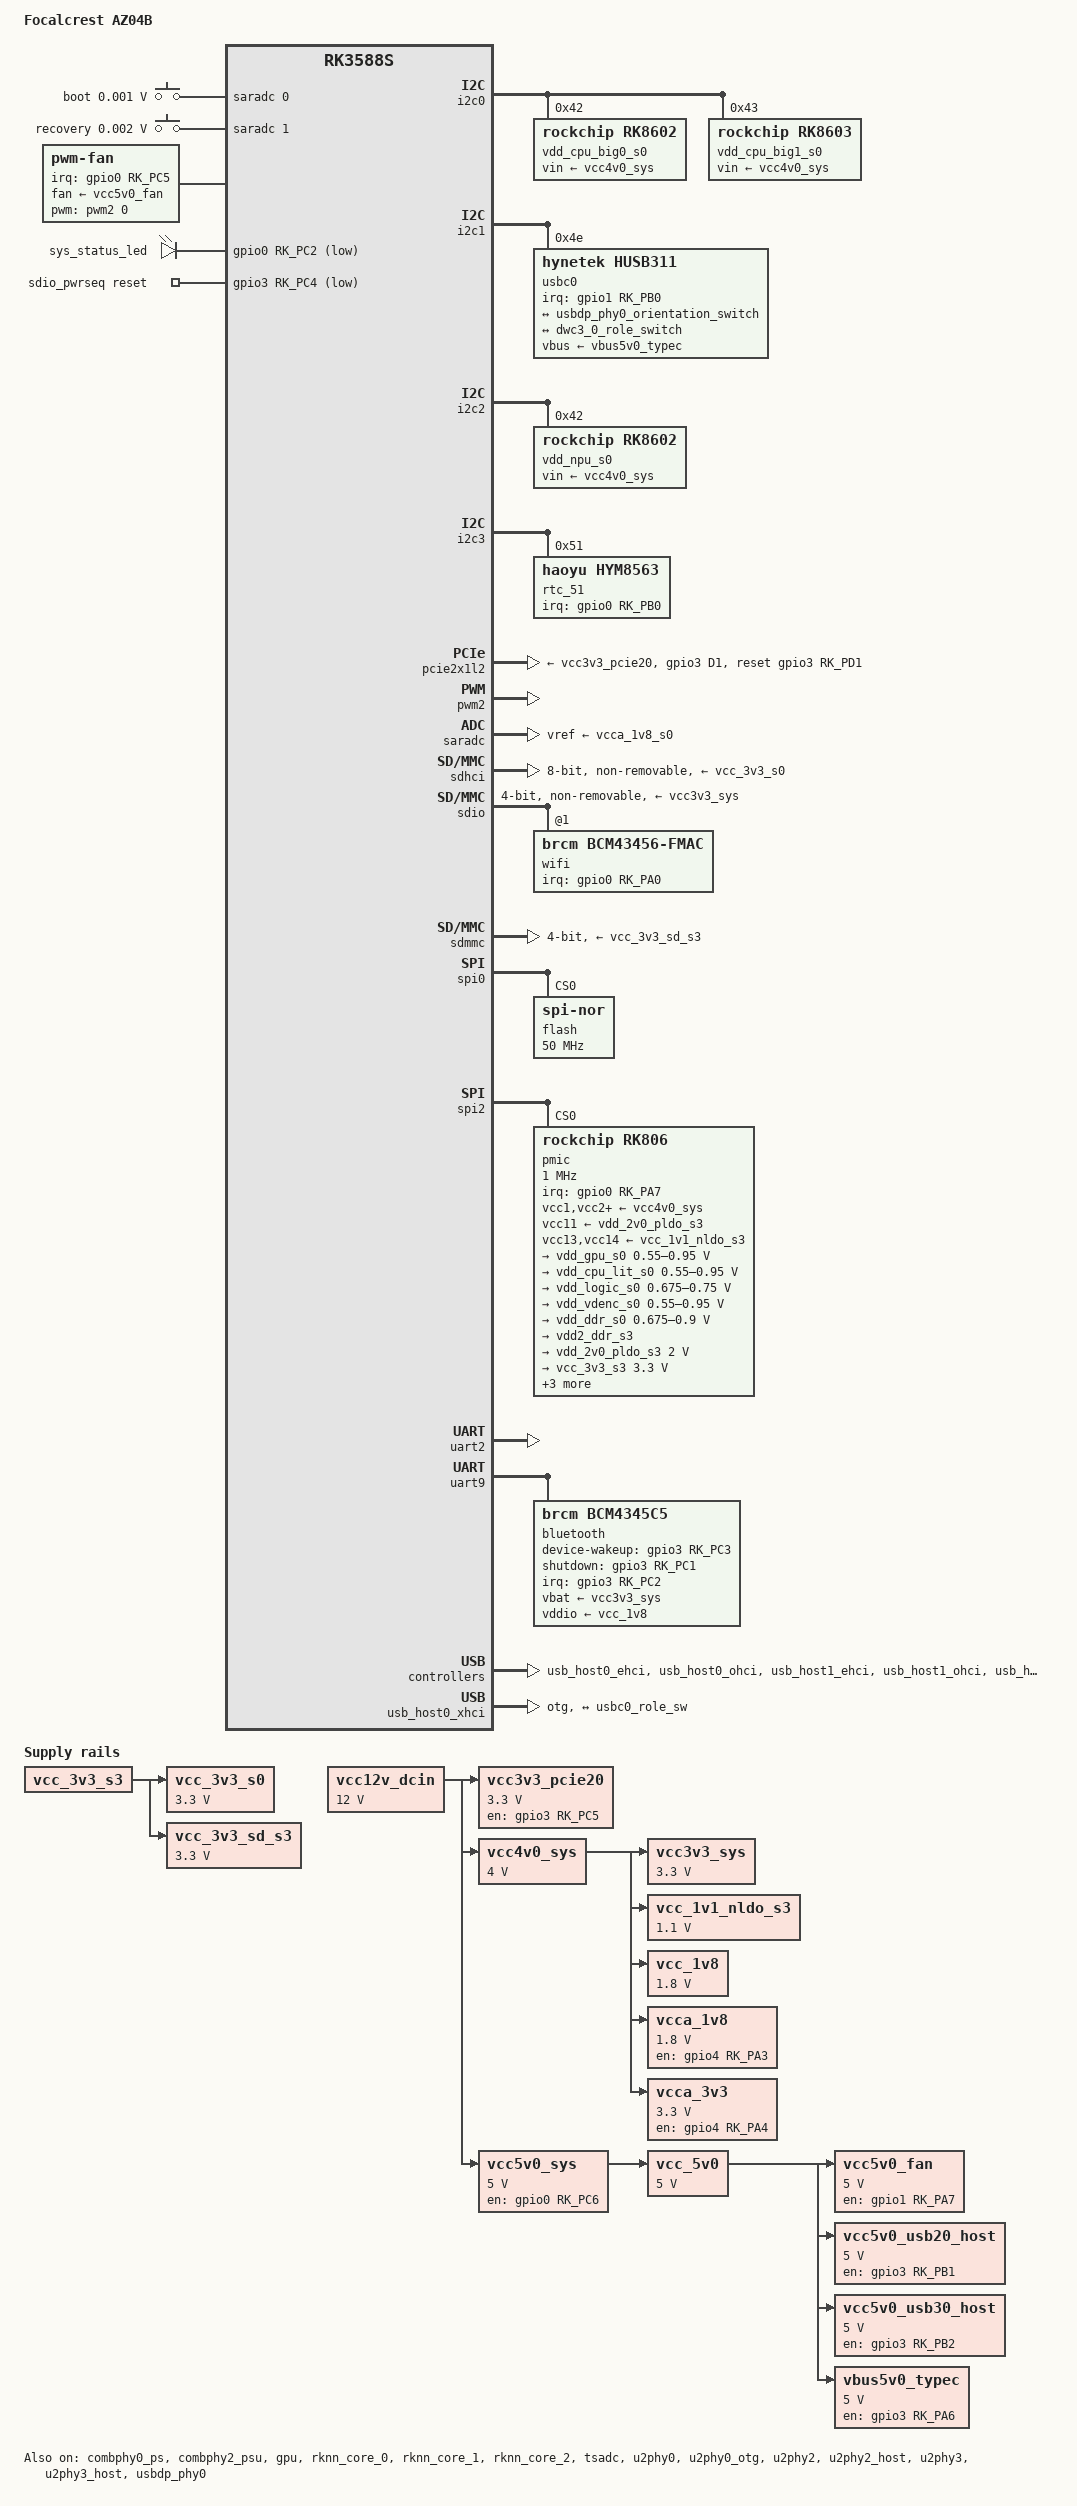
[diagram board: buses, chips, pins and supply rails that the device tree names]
// SPDX-License-Identifier: (GPL-2.0+ OR MIT)
/*
 * Copyright (c) 2026 Focalcrest Co., Ltd.
 *
 *
 */

/dts-v1/;

#include <dt-bindings/gpio/gpio.h>
#include <dt-bindings/input/input.h>
#include <dt-bindings/interrupt-controller/irq.h>
#include <dt-bindings/pinctrl/rockchip.h>
#include <dt-bindings/thermal/thermal.h>
#include <dt-bindings/usb/pd.h>
#include "rk3588s.dtsi"

/ {
	model = "Focalcrest AZ04B";
	compatible = "focalcrest,rk3588s-az04b", "rockchip,rk3588s";

	aliases {
		mmc0 = &sdhci;
		mmc1 = &sdmmc;
		mmc2 = &sdio;
	};

	adc-keys-0 {
		compatible = "adc-keys";
		io-channel-names = "buttons";
		io-channels = <&saradc 0>;
		keyup-threshold-microvolt = <1800000>;
		poll-interval = <100>;

		button-boot {
			label = "boot";
			linux,code = <KEY_1>;
			press-threshold-microvolt = <1000>;
		};
	};

	adc-keys-1 {
		compatible = "adc-keys";
		io-channel-names = "buttons";
		io-channels = <&saradc 1>;
		keyup-threshold-microvolt = <1800000>;
		poll-interval = <100>;

		button-recovery {
			label = "recovery";
			linux,code = <KEY_2>;
			press-threshold-microvolt = <2000>;
		};
	};

	chosen {
		stdout-path = "serial2:1500000n8";
	};

	fan: pwm-fan {
		compatible = "pwm-fan";
		#cooling-cells = <2>;
		cooling-levels = <0 100 150 200 255>;
		fan-supply = <&vcc5v0_fan>;
		interrupt-parent = <&gpio0>;
		interrupts = <RK_PC5 IRQ_TYPE_EDGE_FALLING>;
		pulses-per-revolution = <2>;
		pwms = <&pwm2 0 5000 0>;
	};

	firmware {
		optee {
			compatible = "linaro,optee-tz";
			method = "smc";
		};
	};

	leds {
		compatible = "gpio-leds";
		pinctrl-names = "default";
		pinctrl-0 = <&sys_status_led_pin>;

		led-0 {
			label = "sys_status_led";
			gpios = <&gpio0 RK_PC2 GPIO_ACTIVE_LOW>;
			linux,default-trigger = "heartbeat";
		};
	};

	reserved-memory {
		#address-cells = <2>;
		#size-cells = <2>;
		ranges;

		optee@8400000 {
			reg = <0x0 0x8400000 0x0 0x1000000>;
			no-map;
		};
	};

	sdio_pwrseq: sdio-pwrseq {
		compatible = "mmc-pwrseq-simple";
		clocks = <&rtc_51>;
		clock-names = "ext_clock";
		pinctrl-names = "default";
		pinctrl-0 = <&wifi_enable_h>;
		post-power-on-delay-ms = <200>;
		reset-gpios = <&gpio3 RK_PC4 GPIO_ACTIVE_LOW>;
	};

	vcc12v_dcin: regulator-vcc12v-dcin {
		compatible = "regulator-fixed";
		regulator-name = "vcc12v_dcin";
		regulator-always-on;
		regulator-boot-on;
		regulator-min-microvolt = <12000000>;
		regulator-max-microvolt = <12000000>;
	};

	vcc3v3_pcie20: regulator-vcc3v3-pcie20 {
		compatible = "regulator-fixed";
		enable-active-high;
		gpio = <&gpio3 RK_PC5 GPIO_ACTIVE_HIGH>;
		regulator-name = "vcc3v3_pcie20";
		regulator-always-on;
		regulator-min-microvolt = <3300000>;
		regulator-max-microvolt = <3300000>;
		startup-delay-us = <5000>;
		vin-supply = <&vcc12v_dcin>;
	};

	vcc3v3_sys: regulator-vcc3v3-sys {
		compatible = "regulator-fixed";
		regulator-name = "vcc3v3_sys";
		regulator-always-on;
		regulator-boot-on;
		regulator-min-microvolt = <3300000>;
		regulator-max-microvolt = <3300000>;
		vin-supply = <&vcc4v0_sys>;
	};

	vcc4v0_sys: regulator-vcc4v0-sys {
		compatible = "regulator-fixed";
		regulator-name = "vcc4v0_sys";
		regulator-always-on;
		regulator-boot-on;
		regulator-min-microvolt = <4000000>;
		regulator-max-microvolt = <4000000>;
		vin-supply = <&vcc12v_dcin>;
	};

	vcc5v0_fan: regulator-vcc5v0-fan {
		compatible = "regulator-fixed";
		enable-active-high;
		gpio = <&gpio1 RK_PA7 GPIO_ACTIVE_HIGH>;
		pinctrl-names = "default";
		pinctrl-0 = <&fan_vbus_en>;
		regulator-name = "vcc5v0_fan";
		regulator-min-microvolt = <5000000>;
		regulator-max-microvolt = <5000000>;
		vin-supply = <&vcc_5v0>;
	};

	vcc5v0_sys: regulator-vcc5v0-sys {
		compatible = "regulator-fixed";
		enable-active-high;
		gpio = <&gpio0 RK_PC6 GPIO_ACTIVE_HIGH>;
		regulator-name = "vcc5v0_sys";
		regulator-always-on;
		regulator-boot-on;
		regulator-min-microvolt = <5000000>;
		regulator-max-microvolt = <5000000>;
		vin-supply = <&vcc12v_dcin>;
	};

	vcc5v0_usb20_host: regulator-vcc5v0-usb20-host {
		compatible = "regulator-fixed";
		enable-active-high;
		gpio = <&gpio3 RK_PB1 GPIO_ACTIVE_HIGH>;
		pinctrl-names = "default";
		pinctrl-0 = <&usb20_host_pwr_en>;
		regulator-name = "vcc5v0_usb20_host";
		regulator-min-microvolt = <5000000>;
		regulator-max-microvolt = <5000000>;
		vin-supply = <&vcc_5v0>;
	};

	vcc5v0_usb30_host: regulator-vcc5v0-usb30-host {
		compatible = "regulator-fixed";
		enable-active-high;
		gpio = <&gpio3 RK_PB2 GPIO_ACTIVE_HIGH>;
		pinctrl-names = "default";
		pinctrl-0 = <&usb30_host_pwr_en>;
		regulator-name = "vcc5v0_usb30_host";
		regulator-min-microvolt = <5000000>;
		regulator-max-microvolt = <5000000>;
		vin-supply = <&vcc_5v0>;
	};

	vcc_1v1_nldo_s3: regulator-vcc-1v1-nldo-s3 {
		compatible = "regulator-fixed";
		regulator-name = "vcc_1v1_nldo_s3";
		regulator-always-on;
		regulator-boot-on;
		regulator-min-microvolt = <1100000>;
		regulator-max-microvolt = <1100000>;
		vin-supply = <&vcc4v0_sys>;
	};

	vcc_1v8: regulator-vcc-1v8 {
		compatible = "regulator-fixed";
		regulator-name = "vcc_1v8";
		regulator-always-on;
		regulator-boot-on;
		regulator-min-microvolt = <1800000>;
		regulator-max-microvolt = <1800000>;
		vin-supply = <&vcc4v0_sys>;
	};

	vcc_3v3_s0: regulator-vcc-3v3-s0 {
		compatible = "regulator-fixed";
		regulator-name = "vcc_3v3_s0";
		regulator-always-on;
		regulator-boot-on;
		regulator-min-microvolt = <3300000>;
		regulator-max-microvolt = <3300000>;
		vin-supply = <&vcc_3v3_s3>;
	};

	vcc_3v3_sd_s3: regulator-vcc-3v3-sd-s3 {
		compatible = "regulator-fixed";
		regulator-name = "vcc_3v3_sd_s3";
		regulator-always-on;
		regulator-boot-on;
		regulator-min-microvolt = <3300000>;
		regulator-max-microvolt = <3300000>;
		vin-supply = <&vcc_3v3_s3>;
	};

	vcc_5v0: regulator-vcc-5v0 {
		compatible = "regulator-fixed";
		regulator-name = "vcc_5v0";
		regulator-always-on;
		regulator-boot-on;
		regulator-min-microvolt = <5000000>;
		regulator-max-microvolt = <5000000>;
		vin-supply = <&vcc5v0_sys>;
	};

	vcca_1v8: regulator-vcca-1v8 {
		compatible = "regulator-fixed";
		enable-active-high;
		gpio = <&gpio4 RK_PA3 GPIO_ACTIVE_HIGH>;
		regulator-name = "vcca_1v8";
		regulator-always-on;
		regulator-boot-on;
		regulator-min-microvolt = <1800000>;
		regulator-max-microvolt = <1800000>;
		vin-supply = <&vcc4v0_sys>;
	};

	vcca_3v3: regulator-vcca-3v3 {
		compatible = "regulator-fixed";
		enable-active-high;
		gpio = <&gpio4 RK_PA4 GPIO_ACTIVE_HIGH>;
		regulator-name = "vcca_3v3";
		regulator-always-on;
		regulator-boot-on;
		regulator-min-microvolt = <3300000>;
		regulator-max-microvolt = <3300000>;
		vin-supply = <&vcc4v0_sys>;
	};

	vbus5v0_typec: regulator-vbus5v0-typec {
		compatible = "regulator-fixed";
		enable-active-high;
		gpio = <&gpio3 RK_PA6 GPIO_ACTIVE_HIGH>;
		pinctrl-names = "default";
		pinctrl-0 = <&typec_vbus_en>;
		regulator-name = "vbus5v0_typec";
		regulator-min-microvolt = <5000000>;
		regulator-max-microvolt = <5000000>;
		vin-supply = <&vcc_5v0>;
	};
};

&combphy0_ps {
	status = "okay";
};

&combphy2_psu {
	status = "okay";
};

&cpu_b0 {
	cpu-supply = <&vdd_cpu_big0_s0>;
	mem-supply = <&vdd_cpu_big0_s0>;
};

&cpu_b1 {
	cpu-supply = <&vdd_cpu_big0_s0>;
	mem-supply = <&vdd_cpu_big0_s0>;
};

&cpu_b2 {
	cpu-supply = <&vdd_cpu_big1_s0>;
	mem-supply = <&vdd_cpu_big1_s0>;
};

&cpu_b3 {
	cpu-supply = <&vdd_cpu_big1_s0>;
	mem-supply = <&vdd_cpu_big1_s0>;
};

&cpu_l0 {
	cpu-supply = <&vdd_cpu_lit_s0>;
	mem-supply = <&vdd_cpu_lit_s0>;
};

&cpu_l1 {
	cpu-supply = <&vdd_cpu_lit_s0>;
	mem-supply = <&vdd_cpu_lit_s0>;
};

&cpu_l2 {
	cpu-supply = <&vdd_cpu_lit_s0>;
	mem-supply = <&vdd_cpu_lit_s0>;
};

&cpu_l3 {
	cpu-supply = <&vdd_cpu_lit_s0>;
	mem-supply = <&vdd_cpu_lit_s0>;
};

&gpu {
	mali-supply = <&vdd_gpu_s0>;
	status = "okay";
};

&i2c0 {
	pinctrl-0 = <&i2c0m2_xfer>;
	status = "okay";

	vdd_cpu_big0_s0: regulator@42 {
		compatible = "rockchip,rk8602";
		reg = <0x42>;
		regulator-name = "vdd_cpu_big0_s0";
		regulator-always-on;
		regulator-boot-on;
		regulator-min-microvolt = <550000>;
		regulator-max-microvolt = <1050000>;
		regulator-ramp-delay = <2300>;
		vin-supply = <&vcc4v0_sys>;
		fcs,suspend-voltage-selector = <1>;

		regulator-state-mem {
			regulator-off-in-suspend;
		};
	};

	vdd_cpu_big1_s0: regulator@43 {
		compatible = "rockchip,rk8603", "rockchip,rk8602";
		reg = <0x43>;
		regulator-name = "vdd_cpu_big1_s0";
		regulator-always-on;
		regulator-boot-on;
		regulator-min-microvolt = <550000>;
		regulator-max-microvolt = <1050000>;
		regulator-ramp-delay = <2300>;
		vin-supply = <&vcc4v0_sys>;
		fcs,suspend-voltage-selector = <1>;

		regulator-state-mem {
			regulator-off-in-suspend;
		};
	};
};

&i2c1 {
	pinctrl-0 = <&i2c1m2_xfer>;
	status = "okay";

	usbc0: usb-typec@4e {
		/*
		 * The HUSB311 is TCPCI compliant but has no binding of its own
		 * in mainline yet, so it binds through the generic "tcpci"
		 * fallback.  dtbs_check will flag the first entry until a
		 * binding is added.
		 */
		compatible = "hynetek,husb311", "tcpci";
		reg = <0x4e>;
		interrupt-parent = <&gpio1>;
		interrupts = <RK_PB0 IRQ_TYPE_LEVEL_LOW>;
		pinctrl-names = "default";
		pinctrl-0 = <&usbc0_int>;
		vbus-supply = <&vbus5v0_typec>;

		usb_con: connector {
			compatible = "usb-c-connector";
			data-role = "dual";
			label = "USB-C";
			op-sink-microwatt = <1000000>;
			power-role = "dual";
			sink-pdos = <PDO_FIXED(5000, 1000, PDO_FIXED_USB_COMM)>;
			source-pdos = <PDO_FIXED(5000, 3000, PDO_FIXED_USB_COMM)>;
			try-power-role = "sink";

			ports {
				#address-cells = <1>;
				#size-cells = <0>;

				port@0 {
					reg = <0>;

					usbc0_orien_sw: endpoint {
						remote-endpoint = <&usbdp_phy0_orientation_switch>;
					};
				};

				port@1 {
					reg = <1>;

					usbc0_role_sw: endpoint {
						remote-endpoint = <&dwc3_0_role_switch>;
					};
				};

				/*
				 * port@2 (SBU / DP alt-mode) is intentionally
				 * absent: no display output is described.  Add
				 * it together with &usbdp_phy0 mode-switch and
				 * the sbu[12]-dc-gpios when DP is wanted.
				 */
			};
		};
	};
};

&i2c2 {
	pinctrl-0 = <&i2c2m0_xfer>;
	status = "okay";

	vdd_npu_s0: regulator@42 {
		compatible = "rockchip,rk8602";
		reg = <0x42>;
		regulator-name = "vdd_npu_s0";
		regulator-boot-on;
		regulator-min-microvolt = <550000>;
		regulator-max-microvolt = <950000>;
		regulator-ramp-delay = <2300>;
		vin-supply = <&vcc4v0_sys>;
		fcs,suspend-voltage-selector = <1>;

		regulator-state-mem {
			regulator-off-in-suspend;
		};
	};
};

&i2c3 {
	pinctrl-0 = <&i2c3m0_xfer>;
	status = "okay";

	rtc_51: rtc@51 {
		compatible = "haoyu,hym8563";
		reg = <0x51>;
		#clock-cells = <0>;
		clock-output-names = "hym8563";
		interrupt-parent = <&gpio0>;
		interrupts = <RK_PB0 IRQ_TYPE_LEVEL_LOW>;
		pinctrl-names = "default";
		pinctrl-0 = <&hym8563_int>;
		wakeup-source;
	};
};

&package_thermal {
	polling-delay = <500>;
	polling-delay-passive = <100>;

	trips {
		fan_trip0: fan-trip0 {
			hysteresis = <2000>;
			temperature = <40000>;
			type = "active";
		};

		fan_trip1: fan-trip1 {
			hysteresis = <2000>;
			temperature = <50000>;
			type = "active";
		};

		fan_trip2: fan-trip2 {
			hysteresis = <2000>;
			temperature = <60000>;
			type = "active";
		};

		fan_trip3: fan-trip3 {
			hysteresis = <2000>;
			temperature = <65000>;
			type = "active";
		};
	};

	cooling-maps {
		map-fan-0 {
			cooling-device = <&fan 1 1>;
			trip = <&fan_trip0>;
		};

		map-fan-1 {
			cooling-device = <&fan 2 2>;
			trip = <&fan_trip1>;
		};

		map-fan-2 {
			cooling-device = <&fan 3 3>;
			trip = <&fan_trip2>;
		};

		map-fan-3 {
			cooling-device = <&fan 4 THERMAL_NO_LIMIT>;
			trip = <&fan_trip3>;
		};
	};
};

&pcie2x1l2 {
	pinctrl-names = "default";
	pinctrl-0 = <&pcie20_perstn>;
	reset-gpios = <&gpio3 RK_PD1 GPIO_ACTIVE_HIGH>;
	vpcie3v3-supply = <&vcc3v3_pcie20>;
	status = "okay";
};

&pd_gpu {
	domain-supply = <&vdd_gpu_s0>;
};

&pd_npu {
	domain-supply = <&vdd_npu_s0>;
};

&pinctrl {
	fan {
		fan_vbus_en: fan-vbus-en {
			rockchip,pins = <1 RK_PA7 RK_FUNC_GPIO &pcfg_pull_none>;
		};
	};

	hym8563 {
		hym8563_int: hym8563-int {
			rockchip,pins = <0 RK_PB0 RK_FUNC_GPIO &pcfg_pull_up>;
		};
	};

	leds {
		sys_status_led_pin: sys-status-led-pin {
			rockchip,pins = <0 RK_PC2 RK_FUNC_GPIO &pcfg_pull_none>;
		};
	};

	pcie {
		pcie20_perstn: pcie20-perstn {
			rockchip,pins = <3 RK_PD1 RK_FUNC_GPIO &pcfg_pull_none>;
		};
	};

	usb {
		usb20_host_pwr_en: usb20-host-pwr-en {
			rockchip,pins = <3 RK_PB1 RK_FUNC_GPIO &pcfg_pull_none>;
		};

		usb30_host_pwr_en: usb30-host-pwr-en {
			rockchip,pins = <3 RK_PB2 RK_FUNC_GPIO &pcfg_pull_none>;
		};
	};

	usb-typec {
		typec_vbus_en: typec-vbus-en {
			rockchip,pins = <3 RK_PA6 RK_FUNC_GPIO &pcfg_pull_none>;
		};

		usbc0_int: usbc0-int {
			rockchip,pins = <1 RK_PB0 RK_FUNC_GPIO &pcfg_pull_up>;
		};
	};

	wireless-bluetooth {
		bt_irq_gpio: bt-irq-gpio {
			rockchip,pins = <3 RK_PC2 RK_FUNC_GPIO &pcfg_pull_down>;
		};

		bt_reset_gpio: bt-reset-gpio {
			rockchip,pins = <3 RK_PC1 RK_FUNC_GPIO &pcfg_pull_none>;
		};

		bt_wake_gpio: bt-wake-gpio {
			rockchip,pins = <3 RK_PC3 RK_FUNC_GPIO &pcfg_pull_none>;
		};
	};

	wireless-wlan {
		wifi_enable_h: wifi-enable-h {
			rockchip,pins = <3 RK_PC4 RK_FUNC_GPIO &pcfg_pull_none>;
		};

		wifi_host_wake_irq: wifi-host-wake-irq {
			rockchip,pins = <0 RK_PA0 RK_FUNC_GPIO &pcfg_pull_down>;
		};
	};
};

&pmic_pins {
	rockchip,pins = <0 RK_PA7 RK_FUNC_GPIO &pcfg_pull_up>,
			<0 RK_PA2 1 &pcfg_pull_none>,
			<0 RK_PA3 1 &pcfg_pull_none>,
			<0 RK_PC1 1 &pcfg_pull_none>,
			<0 RK_PC3 1 &pcfg_pull_none>;
};

&pwm2 {
	pinctrl-0 = <&pwm2m0_pins>;
	status = "okay";
};

&rknn_core_0 {
	npu-supply = <&vdd_npu_s0>;
	sram-supply = <&vdd_npu_s0>;
	status = "okay";
};

&rknn_core_1 {
	npu-supply = <&vdd_npu_s0>;
	sram-supply = <&vdd_npu_s0>;
	status = "okay";
};

&rknn_core_2 {
	npu-supply = <&vdd_npu_s0>;
	sram-supply = <&vdd_npu_s0>;
	status = "okay";
};

&rknn_mmu_0 {
	status = "okay";
};

&rknn_mmu_1 {
	status = "okay";
};

&rknn_mmu_2 {
	status = "okay";
};

&saradc {
	vref-supply = <&vcca_1v8_s0>;
	status = "okay";
};

&sdhci {
	max-frequency = <200000000>;
	bus-width = <8>;
	mmc-hs200-1_8v;
	mmc-hs400-1_8v;
	mmc-hs400-enhanced-strobe;
	no-sd;
	no-sdio;
	non-removable;
	vmmc-supply = <&vcc_3v3_s0>;
	vqmmc-supply = <&vcc_1v8_s3>;
	status = "okay";
};

&sdio {
	max-frequency = <150000000>;
	pinctrl-0 = <&sdiom1_pins>;
	#address-cells = <1>;
	bus-width = <4>;
	cap-sd-highspeed;
	cap-sdio-irq;
	disable-wp;
	keep-power-in-suspend;
	mmc-pwrseq = <&sdio_pwrseq>;
	no-mmc;
	no-sd;
	non-removable;
	sd-uhs-sdr104;
	#size-cells = <0>;
	vmmc-supply = <&vcc3v3_sys>;
	vqmmc-supply = <&vcc_1v8>;
	status = "okay";

	wifi@1 {
		compatible = "brcm,bcm43456-fmac";
		reg = <0x1>;
		interrupt-parent = <&gpio0>;
		interrupts = <RK_PA0 IRQ_TYPE_LEVEL_HIGH>;
		interrupt-names = "host-wake";
		pinctrl-names = "default";
		pinctrl-0 = <&wifi_host_wake_irq>;
	};
};

&sdmmc {
	bus-width = <4>;
	cap-mmc-highspeed;
	cap-sd-highspeed;
	disable-wp;
	max-frequency = <150000000>;
	no-mmc;
	no-sdio;
	sd-uhs-sdr104;
	vmmc-supply = <&vcc_3v3_sd_s3>;
	vqmmc-supply = <&vccio_sd_s0>;
	status = "okay";
};

&spi0 {
	num-cs = <1>;
	pinctrl-names = "default";
	pinctrl-0 = <&spi0m2_cs0>, <&spi0m2_pins>;
	status = "okay";

	flash@0 {
		compatible = "jedec,spi-nor";
		reg = <0>;
		spi-max-frequency = <50000000>;
	};
};

&spi2 {
	assigned-clock-rates = <200000000>;
	assigned-clocks = <&cru CLK_SPI2>;
	num-cs = <1>;
	pinctrl-0 = <&spi2m2_cs0>, <&spi2m2_pins>;
	status = "okay";

	pmic@0 {
		compatible = "rockchip,rk806";
		reg = <0x0>;
		#gpio-cells = <2>;
		gpio-controller;
		interrupt-parent = <&gpio0>;
		interrupts = <RK_PA7 IRQ_TYPE_LEVEL_LOW>;
		pinctrl-names = "default";
		pinctrl-0 = <&pmic_pins>, <&dvs1_shutdown_pins>,
			    <&dvs2_null_pins>, <&dvs3_null_pins>;
		spi-max-frequency = <1000000>;
		system-power-controller;
		vcc1-supply = <&vcc4v0_sys>;
		vcc2-supply = <&vcc4v0_sys>;
		vcc3-supply = <&vcc4v0_sys>;
		vcc4-supply = <&vcc4v0_sys>;
		vcc5-supply = <&vcc4v0_sys>;
		vcc6-supply = <&vcc4v0_sys>;
		vcc7-supply = <&vcc4v0_sys>;
		vcc8-supply = <&vcc4v0_sys>;
		vcc9-supply = <&vcc4v0_sys>;
		vcc10-supply = <&vcc4v0_sys>;
		vcc11-supply = <&vdd_2v0_pldo_s3>;
		vcc12-supply = <&vcc4v0_sys>;
		vcc13-supply = <&vcc_1v1_nldo_s3>;
		vcc14-supply = <&vcc_1v1_nldo_s3>;
		vcca-supply = <&vcc4v0_sys>;

		dvs1_shutdown_pins: dvs1-shutdown-pins {
			function = "pin_fun2";
			pins = "gpio_pwrctrl1";
		};

		dvs2_null_pins: dvs2-null-pins {
			function = "pin_fun0";
			pins = "gpio_pwrctrl2";
		};

		dvs3_null_pins: dvs3-null-pins {
			function = "pin_fun0";
			pins = "gpio_pwrctrl3";
		};

		regulators {
			vdd_gpu_s0: dcdc-reg1 {
				regulator-name = "vdd_gpu_s0";
				regulator-boot-on;
				regulator-enable-ramp-delay = <400>;
				regulator-min-microvolt = <550000>;
				regulator-max-microvolt = <950000>;
				regulator-ramp-delay = <12500>;

				regulator-state-mem {
					regulator-off-in-suspend;
				};
			};

			vdd_cpu_lit_s0: dcdc-reg2 {
				regulator-name = "vdd_cpu_lit_s0";
				regulator-always-on;
				regulator-boot-on;
				regulator-min-microvolt = <550000>;
				regulator-max-microvolt = <950000>;
				regulator-ramp-delay = <12500>;

				regulator-state-mem {
					regulator-off-in-suspend;
				};
			};

			dcdc-reg3 {
				regulator-name = "vdd_logic_s0";
				regulator-always-on;
				regulator-boot-on;
				regulator-min-microvolt = <675000>;
				regulator-max-microvolt = <750000>;
				regulator-ramp-delay = <12500>;

				regulator-state-mem {
					regulator-off-in-suspend;
					regulator-suspend-microvolt = <750000>;
				};
			};

			dcdc-reg4 {
				regulator-name = "vdd_vdenc_s0";
				regulator-always-on;
				regulator-boot-on;
				regulator-init-microvolt = <750000>;
				regulator-min-microvolt = <550000>;
				regulator-max-microvolt = <950000>;
				regulator-ramp-delay = <12500>;

				regulator-state-mem {
					regulator-off-in-suspend;
				};
			};

			dcdc-reg5 {
				regulator-name = "vdd_ddr_s0";
				regulator-always-on;
				regulator-boot-on;
				regulator-min-microvolt = <675000>;
				regulator-max-microvolt = <900000>;
				regulator-ramp-delay = <12500>;

				regulator-state-mem {
					regulator-off-in-suspend;
					regulator-suspend-microvolt = <850000>;
				};
			};

			dcdc-reg6 {
				regulator-name = "vdd2_ddr_s3";
				regulator-always-on;
				regulator-boot-on;

				regulator-state-mem {
					regulator-off-in-suspend;
				};
			};

			vdd_2v0_pldo_s3: dcdc-reg7 {
				regulator-name = "vdd_2v0_pldo_s3";
				regulator-always-on;
				regulator-boot-on;
				regulator-min-microvolt = <2000000>;
				regulator-max-microvolt = <2000000>;
				regulator-ramp-delay = <12500>;

				regulator-state-mem {
					regulator-on-in-suspend;
					regulator-suspend-microvolt = <2000000>;
				};
			};

			vcc_3v3_s3: dcdc-reg8 {
				regulator-name = "vcc_3v3_s3";
				regulator-always-on;
				regulator-boot-on;
				regulator-min-microvolt = <3300000>;
				regulator-max-microvolt = <3300000>;

				regulator-state-mem {
					regulator-on-in-suspend;
					regulator-suspend-microvolt = <3300000>;
				};
			};

			dcdc-reg9 {
				regulator-name = "vddq_ddr_s0";
				regulator-always-on;
				regulator-boot-on;

				regulator-state-mem {
					regulator-off-in-suspend;
				};
			};

			vcc_1v8_s3: dcdc-reg10 {
				regulator-name = "vcc_1v8_s3";
				regulator-always-on;
				regulator-boot-on;
				regulator-min-microvolt = <1800000>;
				regulator-max-microvolt = <1800000>;

				regulator-state-mem {
					regulator-on-in-suspend;
					regulator-suspend-microvolt = <1800000>;
				};
			};

			nldo-reg1 {
				regulator-name = "vdd_0v75_s3";
				regulator-always-on;
				regulator-boot-on;
				regulator-min-microvolt = <750000>;
				regulator-max-microvolt = <750000>;

				regulator-state-mem {
					regulator-on-in-suspend;
					regulator-suspend-microvolt = <750000>;
				};
			};

			nldo-reg2 {
				regulator-name = "vdda_ddr_pll_s0";
				regulator-always-on;
				regulator-boot-on;
				regulator-min-microvolt = <850000>;
				regulator-max-microvolt = <850000>;

				regulator-state-mem {
					regulator-off-in-suspend;
					regulator-suspend-microvolt = <850000>;
				};
			};

			nldo-reg3 {
				regulator-name = "vdda_0v75_s0";
				regulator-always-on;
				regulator-boot-on;
				regulator-min-microvolt = <750000>;
				regulator-max-microvolt = <750000>;

				regulator-state-mem {
					regulator-off-in-suspend;
				};
			};

			nldo-reg4 {
				regulator-name = "vdda_0v85_s0";
				regulator-always-on;
				regulator-boot-on;
				regulator-min-microvolt = <850000>;
				regulator-max-microvolt = <850000>;

				regulator-state-mem {
					regulator-off-in-suspend;
				};
			};

			nldo-reg5 {
				regulator-name = "hdmi_vdda0v85_s0";
				regulator-always-on;
				regulator-boot-on;
				regulator-min-microvolt = <750000>;
				regulator-max-microvolt = <750000>;

				regulator-state-mem {
					regulator-off-in-suspend;
				};
			};

			vcca_1v8_s0: pldo-reg1 {
				regulator-name = "vcca_1v8_s0";
				regulator-always-on;
				regulator-boot-on;
				regulator-min-microvolt = <1800000>;
				regulator-max-microvolt = <1800000>;

				regulator-state-mem {
					regulator-off-in-suspend;
				};
			};

			vcc_1v8_s0: pldo-reg2 {
				regulator-name = "vcc_1v8_s0";
				regulator-always-on;
				regulator-boot-on;
				regulator-min-microvolt = <1800000>;
				regulator-max-microvolt = <1800000>;

				regulator-state-mem {
					regulator-off-in-suspend;
					regulator-suspend-microvolt = <1800000>;
				};
			};

			pldo-reg3 {
				regulator-name = "vdda_1v2_s0";
				regulator-always-on;
				regulator-boot-on;
				regulator-min-microvolt = <1200000>;
				regulator-max-microvolt = <1200000>;

				regulator-state-mem {
					regulator-off-in-suspend;
					regulator-suspend-microvolt = <1200000>;
				};
			};

			pldo-reg4 {
				regulator-name = "vcca_3v3_s0";
				regulator-always-on;
				regulator-boot-on;
				regulator-min-microvolt = <3300000>;
				regulator-max-microvolt = <3300000>;
				regulator-ramp-delay = <12500>;

				regulator-state-mem {
					regulator-off-in-suspend;
					regulator-suspend-microvolt = <3300000>;
				};
			};

			vccio_sd_s0: pldo-reg5 {
				regulator-name = "vccio_sd_s0";
				regulator-always-on;
				regulator-boot-on;
				regulator-min-microvolt = <1800000>;
				regulator-max-microvolt = <3300000>;
				regulator-ramp-delay = <12500>;

				regulator-state-mem {
					regulator-off-in-suspend;
				};
			};

			pldo-reg6 {
				regulator-name = "vcc_1v8_s3_pldo6";
				regulator-always-on;
				regulator-boot-on;
				regulator-min-microvolt = <1800000>;
				regulator-max-microvolt = <1800000>;
				regulator-ramp-delay = <12500>;

				regulator-state-mem {
					regulator-on-in-suspend;
					regulator-suspend-microvolt = <1800000>;
				};
			};
		};
	};
};

&tsadc {
	status = "okay";
};

&u2phy0 {
	status = "okay";
};

&u2phy0_otg {
	status = "okay";
};

&u2phy2 {
	status = "okay";
};

&u2phy2_host {
	phy-supply = <&vcc5v0_usb20_host>;
	status = "okay";
};

&u2phy3 {
	status = "okay";
};

&u2phy3_host {
	phy-supply = <&vcc5v0_usb30_host>;
	status = "okay";
};

&uart2 {
	pinctrl-0 = <&uart2m0_xfer>;
	status = "okay";
};

&uart9 {
	/delete-property/ dmas;
	/delete-property/ dma-names;
	pinctrl-0 = <&uart9m2_xfer>, <&uart9m2_ctsn>, <&uart9m2_rtsn>;
	uart-has-rtscts;
	status = "okay";

	bluetooth {
		compatible = "brcm,bcm4345c5";
		clocks = <&rtc_51>;
		clock-names = "lpo";
		device-wakeup-gpios = <&gpio3 RK_PC3 GPIO_ACTIVE_HIGH>;
		interrupt-parent = <&gpio3>;
		interrupts = <RK_PC2 IRQ_TYPE_EDGE_RISING>;
		interrupt-names = "host-wakeup";
		max-speed = <3000000>;
		pinctrl-names = "default";
		pinctrl-0 = <&bt_reset_gpio>, <&bt_irq_gpio>,
			    <&bt_wake_gpio>;
		shutdown-gpios = <&gpio3 RK_PC1 GPIO_ACTIVE_HIGH>;
		vbat-supply = <&vcc3v3_sys>;
		vddio-supply = <&vcc_1v8>;
	};
};

&usb_host0_ehci {
	status = "okay";
};

&usb_host0_ohci {
	status = "okay";
};

&usb_host0_xhci {
	dr_mode = "otg";
	usb-role-switch;
	status = "okay";

	port {
		#address-cells = <1>;
		#size-cells = <0>;

		dwc3_0_role_switch: endpoint@0 {
			reg = <0>;
			remote-endpoint = <&usbc0_role_sw>;
		};
	};
};

&usb_host1_ehci {
	status = "okay";
};

&usb_host1_ohci {
	status = "okay";
};

&usb_host2_xhci {
	status = "okay";
};

&usbdp_phy0 {
	orientation-switch;
	status = "okay";

	port {
		usbdp_phy0_orientation_switch: endpoint {
			remote-endpoint = <&usbc0_orien_sw>;
		};
	};
};

&vepu121_0 {
	status = "disabled";
};

&vepu121_1 {
	status = "disabled";
};

&vepu121_2 {
	status = "disabled";
};

&vepu121_3 {
	status = "disabled";
};
